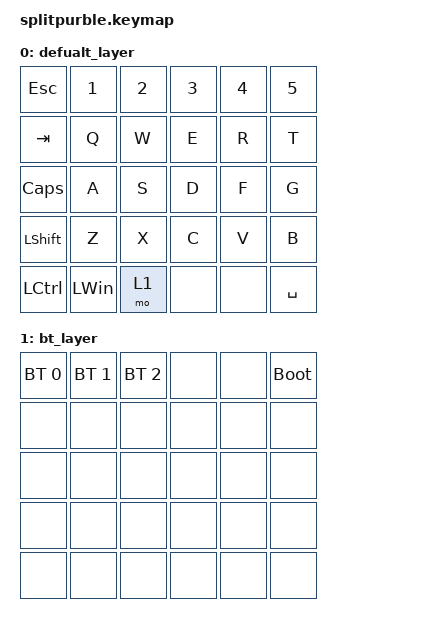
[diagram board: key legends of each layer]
#include <behaviors.dtsi>
#include <dt-bindings/zmk/keys.h>
#include <dt-bindings/zmk/bt.h>

/ {

    keymap{
        compatible = "zmk,keymap";

        defualt_layer{
            bindings = <
                &kp ESC     &kp N1    &kp N2   &kp N3   &kp N4   &kp N5
                &kp TAB     &kp Q     &kp W    &kp E    &kp R    &kp T
                &kp CAPS    &kp A     &kp S    &kp D    &kp F    &kp G
                &kp LSHIFT  &kp Z     &kp X    &kp C    &kp V    &kp B
                &kp LCTRL   &kp LWIN  &mo 1    &none    &none    &kp SPACE
            >;
        };

        bt_layer {
            bindings = <
                &bt BT_SEL 0     &bt BT_SEL 1    &bt BT_SEL 2   &none   &none   &bootloader
                &none     &none    &none   &none   &none    &none
                &none     &none    &none   &none   &none    &none
                &none     &none    &none   &none   &none    &none
                &none     &none    &none   &none   &none    &none
            >;
        };
    };
};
